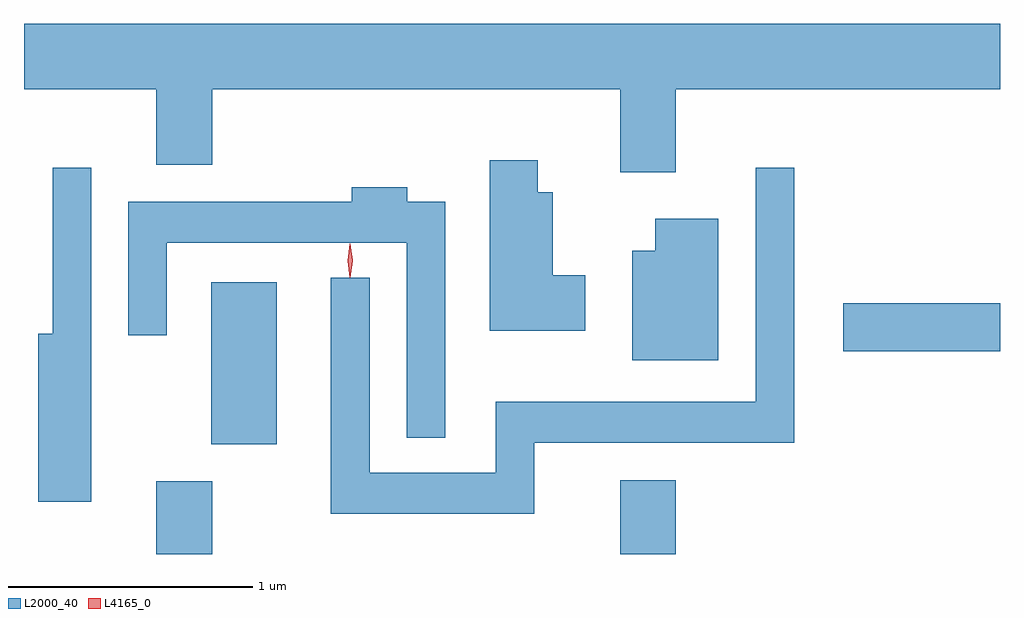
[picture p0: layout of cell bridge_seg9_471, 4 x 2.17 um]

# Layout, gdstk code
import gdstk
lib = gdstk.Library(unit=1e-6, precision=1e-09)
def R(c, l, rs):  # rectangles x0, y0, x1, y1
    for r in rs: c.add(gdstk.rectangle(r[:2], r[2:], *l))
def P(c, l, *ps):  # polygons
    for p in ps: c.add(gdstk.Polygon(p, *l))
L2000_40 = (2000, 40)
L4165_0 = (4165, 0)

bridge_seg9_471 = lib.new_cell('bridge_seg9_471')
R(bridge_seg9_471, L2000_40, [(547.671,1958.83,547.899,1959.129), (549.571,1958.83,549.799,1959.134), (547.896,1959.281,548.164,1959.944), (550.486,1959.661,551.128,1959.859)])
P(bridge_seg9_471, L2000_40, [(549.799,1960.736),(551.128,1960.736),(551.128,1961.004),(547.128,1961.004),(547.128,1960.736),(547.671,1960.736),(547.671,1960.426),(547.899,1960.426),(547.899,1960.736),(549.571,1960.736),(549.571,1960.396),(549.799,1960.396)],
  [(549.429,1959.974),(549.294,1959.974),(549.294,1960.314),(549.234,1960.314),(549.234,1960.444),(549.036,1960.444),(549.036,1959.746),(549.429,1959.746)],
  [(547.404,1960.413),(547.246,1960.413),(547.246,1959.734),(547.186,1959.734),(547.186,1959.046),(547.404,1959.046)],
  [(549.219,1959.286),(550.284,1959.286),(550.284,1960.413),(550.126,1960.413),(550.126,1959.454),(549.061,1959.454),(549.061,1959.164),(548.544,1959.164),(548.544,1959.963),(548.386,1959.963),(548.386,1958.996),(549.219,1958.996)],
  [(548.854,1960.274),(548.699,1960.274),(548.699,1960.334),(548.471,1960.334),(548.471,1960.274),(547.556,1960.274),(547.556,1959.728),(547.714,1959.728),(547.714,1960.106),(548.696,1960.106),(548.696,1959.308),(548.854,1959.308)],
  [(549.974,1960.204),(549.716,1960.204),(549.716,1960.074),(549.621,1960.074),(549.621,1959.626),(549.974,1959.626)])
P(bridge_seg9_471, L4165_0, [(548.464,1959.964),(548.455,1960.033),(548.464,1960.102),(548.465,1960.103),(548.465,1960.102),(548.475,1960.033),(548.465,1959.964),(548.465,1959.964)],
  [(548.464,1959.967),(548.455,1960.034),(548.464,1960.1),(548.465,1960.1),(548.466,1960.1),(548.475,1960.034),(548.466,1959.967),(548.465,1959.967)])

lib.write_gds('bridge_seg9_471.gds')
